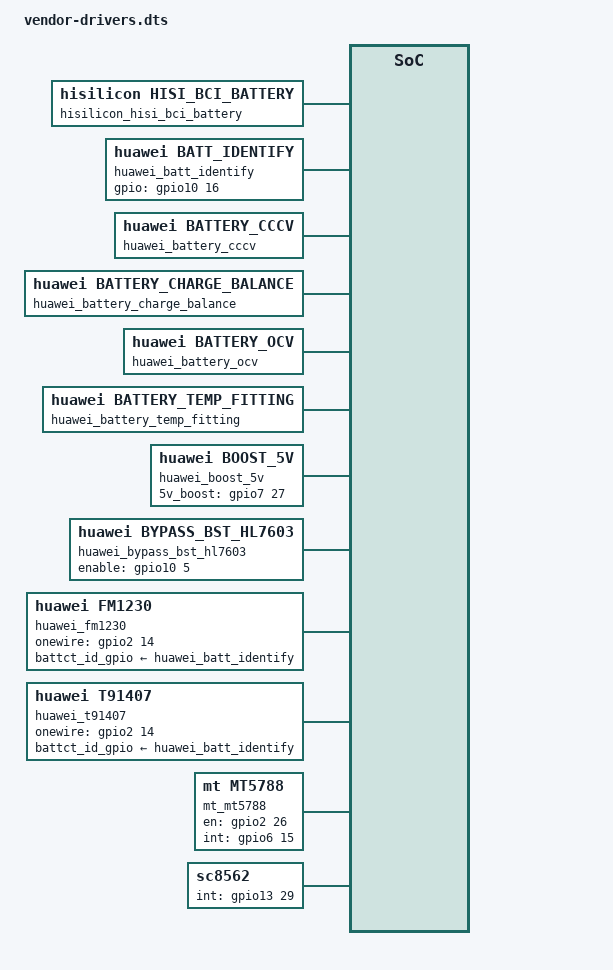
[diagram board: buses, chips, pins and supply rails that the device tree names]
/*
 * Issue #849 scope item 2 - example DTS project-source baseline for the vendor
 * slice. GENERATED by scripts/generate-vendor-project-source.ts from the reviewed
 * seed reconciliation manifest; do not hand-edit.
 *
 * Coverage: 115 of 115 reviewed vendor inputs are expressed here
 * (27 driver subjects, 13 node-type subjects).
 *
 * DEMONSTRATION SOURCE - not validated real-device firmware and not a device
 * deployment input. Every value is the reviewed vendor metadata's own `exampleValue`,
 * emitted as the DTS literal; nothing is invented and nothing is read from the
 * published Catalog schema.
 *
 * The 0 inputs with a shape that has no DTS example are the only ones
 * omitted. The 8 YAML/TOML/ENV compatibility items stay deferred to TD-124.
 *
 * Overlay-only by design: an unresolved `&label` is an L1 `dangling-reference`
 * warning that self-anchors, and L2 compile uses an ephemeral, non-persisted stub
 * (server/modules/dts/danglingAnchorStub.ts). No synthetic base tree is committed.
 */
/dts-v1/;
/plugin/;

/ {
	arm_amba_bus {
		compatible = "arm,amba-bus";
		interrupt-parent = <&gic>;
	};

	hisilicon_hisi_bci_battery {
		compatible = "hisilicon,hisi_bci_battery";
		battery_board_type = <2>;
		battery_design_fcc = <5525>;
		vth_correct_para = <1 2800>;
		vth_correct_para_low_temp = <1 2600>, <2 2800>;
	};

	hisilicon_hisi_vbat_drop_protect_v2 {
		compatible = "hisilicon,hisi_vbat_drop_protect_v2";
		vbat_drop_vol_mv = <2500>;
	};

	hisilicon_hisi_vbat_drop_protect {
		compatible = "hisilicon,hisi_vbat_drop_protect";
		vbat_drop_vol_mv = <2500>;
	};

	huawei_batt_identify {
		compatible = "huawei,batt_identify";
		gpios = <&gpio10 16 0>;
		id_voltage_gpiov = <0 1>;
	};

	huawei_batt_info {
		compatible = "huawei,batt_info";
		sn-check-type = <2>;
	};

	huawei_battery_cccv {
		compatible = "huawei,battery_cccv";
		battery_tbl = "default", "cccv_para0";
	};

	huawei_battery_charge_balance {
		compatible = "huawei,battery_charge_balance";
		unbalance_th = <100 10000>;
	};

	huawei_battery_ocv {
		compatible = "huawei,battery_ocv";
		ocv_table = "-1", "3100", "0", "3200", "1", "3250";
	};

	huawei_battery_temp_fitting {
		compatible = "huawei,battery_temp_fitting";
		btf_temp_lth = "-50";
		fitting_mode = <2>;
		replace_sensor = "bat0_raw_temp";
		temp_para = "-32767", "1", "2300", "0", "4200", "0", "55", "32767", "2300", "0", "4195", "0";
	};

	huawei_boost_5v {
		compatible = "huawei,boost_5v";
		gpio_5v_boost = <&gpio7 27 0>;
	};

	huawei_btb_check {
		compatible = "huawei,btb_check";
		vol_check_para = "1", "1", "2500", "4700", "120", "3", "0";
	};

	huawei_bypass_bst_hl7603 {
		compatible = "huawei,bypass_bst_hl7603";
		const_vout = <3600>;
		gpio_enable = <&gpio10 5 0>;
		ic_role = "0";
		shutdown_cfg = "0xb", "2", "2850", "0xc", "2", "2850";
	};

	huawei_charge_mode_test {
		compatible = "huawei,charge_mode_test";
		test_para = "scp", "lvc", "2000", "105", "0", "2", "scp", "sc4", "3000", "105", "0", "0";
	};

	huawei_charger {
		compatible = "huawei,charger";
		charge_done_sleep_enabled;
		recharge_para = <96 60 3 5 1 0 1 100>;
		support_new_pd_process = <1>;
		weak_source_sleep_enabled;
	};

	huawei_charging_core {
		compatible = "huawei,charging_core";
		ichg_max = <2500>;
		iin_max = <2300>;
		iterm_table = "-32767", "10", "200", "10", "20", "400", "45", "32767", "200";
		jeita_table = "-32767", "1", "2300", "0", "4200", "0", "10", "35", "2300", "3000", "4530", "3", "55", "32767", "2300", "0", "4195", "0";
	};

	huawei_direct_charge_comp {
		compatible = "huawei,direct_charge_comp";
		vbat_comp_ic_para = "schargerV800", "13", "7", "3", "sc8565", "2", "0.5", "3";
	};

	huawei_direct_charge_ic {
		compatible = "huawei,direct_charge_ic";
		ic_para1 = "0", "0", "5000", "0", "0", "1", "1", "5000", "1", "1";
		mode_para = "lvc_mode", "ic_para1", "sc_mode", "ic_para2", "sc4_mode", "ic_para3";
	};

	huawei_direct_charge_turbo {
		compatible = "huawei,direct_charge_turbo";
		time_para_group = "2", "0", "time_para01", "0X1", "4", "0", "time_para02", "0X0";
		time_para01 = "640", "7200", "0", "12500";
	};

	huawei_direct_charger {
		compatible = "huawei,direct_charger";
		bat_para = "default", "10", "15", "volt_para", "CAE", "15", "20", "volt_para1";
		resist_para = "0", "260", "3300", "260", "32767", "2000";
		stage_need_to_jump = "1";
		temp_para = "-32767", "10", "0", "45", "32767", "0";
		use_5A = <1>;
		volt_para = "4080", "5000", "3777", "4555", "1618", "1200";
		volt_para1 = "4500", "5000", "3776", "4555", "2697", "1200";
	};

	huawei_fm1230 {
		compatible = "huawei,fm1230";
		battct_id_gpio-supply = <&huawei_batt_identify>;
		ic_index = <1>;
		onewire-gpio = <&gpio2 14 0>;
		ow_read_end_delay = <100>;
		ow_reset_start_delay = <300>;
	};

	huawei_multi_btb_temp {
		compatible = "huawei,multi_btb_temp";
		sensor-names = "bat0_raw_temp", "comp_para", "0", "bat1_raw_temp", "comp_para1", "0";
	};

	huawei_t91407 {
		compatible = "huawei,t91407";
		battct_id_gpio-supply = <&huawei_batt_identify>;
		onewire-gpio = <&gpio2 14 0>;
	};

	huawei_wireless_charger {
		compatible = "huawei,wireless_charger";
		pmax = <25>;
		rx_mode_para = "5W", "5000", "475", "5000", "5500", "825", "4650", "-1", "-1", "-1", "0", "-1", "4", "SC_4", "15000", "1800", "15000", "15000", "-1", "-1", "46", "-1", "1", "2", "-1", "-1";
		rx_mode_type_para = /bits/ 8 <0 1 1 5 6>;
		sc_err_tx = /bits/ 8 <2>;
		trx_plim = "5000", "5500", "1200", "-1", "2", "-1", "-1", "-1", "12000", "12000", "2300", "-1", "6|9|10", "-1", "3", "-1", "12000", "12000", "2300", "-1", "255", "-1", "3|4", "-1";
	};

	huawei_wireless_sc {
		compatible = "huawei,wireless_sc";
		bat_para = "default", "10", "45", "0x01", "volt_para00", "default", "10", "15", "0x02", "volt_para01";
		init_para = "0x2", "SC_2", "0", "1", "3300", "4500", "9000", "450", "300", "100", "300", "10000", "9000", "2", "0x4", "SC_4", "2", "1", "3200", "4500", "15000", "500", "300", "100", "300", "20000", "15000", "4";
		init_para_col = <14>;
		volt_para00 = "4555", "1802", "386";
		volt_para01 = "4050", "4046", "3237", "4555", "809", "600";
	};

	mt_mt5788 {
		compatible = "mt,mt5788";
		gpio_en = <&gpio2 26 0>;
		gpio_int = <&gpio6 15 0>;
		prevfod1_product_list = /bits/ 8 <17>;
		rx_fod_cond = "0", "-1", "2", "5000", "31", "-1", "-1", "15000";
		rx_mod_cm_cfg = /bits/ 8 <0x5 0x5 0x5>;
		rx_ploss_th0 = /bits/ 8 <0x19 0x32 0x4B 0x64 0x7D 0x96 0xAF 0xE1 0xEB 0x46 0x46 0x46 0x46 0x46 0x46 0x46 0x46 0x46 0x46 0xFF>;
		time_para = < 1800 1250 0 2500 >;
		time_para_group = "SC_2", "1", "time_para01", "SC_4", "0", "time_para";
		tx_current_fod_para = "3", "550", "9900", "300", "9900", "250", "12", "195", "9900", "200", "9900", "1";
	};

	sc8562 {
		compatible = "sc8562";
		fcp_support = <0>;
		gpio_int = <&gpio13 29 0>;
		ic_role = <1>;
		scp_support = <0>;
		sense_r_actual = <10>;
		sense_r_config = <10>;
		slave_mode = <0>;
		vout_ovp_mv = <5000>;
		watchdog_time = <5000>;
	};

	batt_l_v800 {
		/* node-type identity is the node name; no compatible is declared */
		batt_indentify_fcc = <1805>;
		batt_index = <0>;
		batt_name = "battery_gauge";
		r_pcb = <23330>;
		soe_dynamic_enable = <1>;
	};

	batt {
		/* node-type identity is the node name; no compatible is declared */
		batt_indentify_fcc = <3590>;
		batt_index = <1>;
		batt_name = "battery_gauge_aux";
		r_pcb = <11920>;
		soe_dynamic_enable = <1>;
	};

	battery_checker {
		/* node-type identity is the node name; no compatible is declared */
		matchable = <&fm1230 &t91407>;
		spare-cycles = <150>;
	};

	battery0 {
		/* node-type identity is the node name; no compatible is declared */
		cccv_0 = <4500 0>;
		cccv_10_20 = <4200 3610 4250 2707 4555 1260>;
		temp_tab = "0", "cccv_0", "20", "cccv_10_20";
		weight = <1805>;
	};

	battery1 {
		/* node-type identity is the node name; no compatible is declared */
		cccv_10_20 = <4200 7180 4500 3590 4555 2513>;
		temp_tab = "0", "cccv_0", "20", "cccv_10_20";
		weight = <3590>;
	};

	cccv_para0 {
		/* node-type identity is the node name; no compatible is declared */
		buck_cccv_0_5 = < 4540 1078 0>;
		buck_temp_tab = "5", "buck_cccv_0_5";
		cccv_10_20 = <4200 10790 0 4250 8092 0 4565 2697 0>;
		temp_tab = "20", "cccv_10_20";
	};

	charging_core {
		/* node-type identity is the node name; no compatible is declared */
		battery-thermal-derate-curve;
		fast-charge-profile-matrix;
	};

	i2c {
		/* node-type identity is the node name; no compatible is declared */
		hold-time = <0x220022>;
	};

	middle_cpu {
		/* node-type identity is the node name; no compatible is declared */
		active_perf_limit = < 16 100 100 6 15 100 0 5 100>;
		passive_perf_limit = < 0 5 10 40 10 0 6 15 10 70 10 0 16 100 0 100 10 0>;
	};

	/ {
		/* node-type identity is the node name; no compatible is declared */
		board_id = <12345>;
	};

	scharger_v800_buck {
		/* node-type identity is the node name; no compatible is declared */
		cur_balance_mos = <2>;
		pswovp_sw_flag = "rxsw", "1", "0", "1";
		r_charger_uohm = <1000>;
		usbovp_sw_flag = "buck", "0", "1", "1";
	};

	scharger_v800_flash {
		/* node-type identity is the node name; no compatible is declared */
		vendor,led-type = <0>;
	};

	scharger_v800 {
		/* node-type identity is the node name; no compatible is declared */
		gpios = <&gpio5 31 0>;
	};
};
